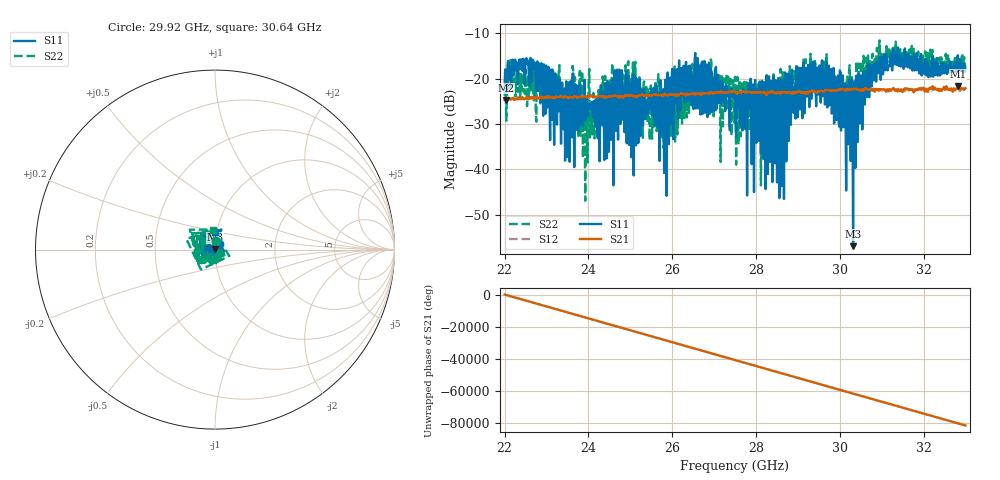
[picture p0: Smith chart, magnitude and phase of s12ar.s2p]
!Keysight Technologies,N5224B,MY57181201,A.12.70.07
!Date: Friday, July 15, 2022 16:15:20
!Correction: S11(Full 2 Port(1,2))
!S21(Full 2 Port(1,2))
!S12(Full 2 Port(1,2))
!S22(Full 2 Port(1,2))
!S2P File: Measurements: S11, S21, S12, S22:
# Hz S  dB  R 50
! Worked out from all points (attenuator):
!   801 points, 22 GHz to 33 GHz, reference 50 ohm
!   highest |S21| = -21.61 dB at 32.82 GHz (marker M1); lowest = -24.7 dB at 22.03 GHz (marker M2)
!   lowest |S11| = -56.9 dB at 30.32 GHz (marker M3), VSWR 1.00, Z = 50 + j0.14 ohm
!   |S11| at or under -10 dB: start of sweep to end of sweep
!   |S22| runs from -46.9 to -11.6 dB; largest |S21 - S12| = 0.0081
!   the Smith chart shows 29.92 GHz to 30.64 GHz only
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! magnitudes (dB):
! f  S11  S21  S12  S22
! 22 GHz  -21.6  -24.6  -24.6  -23.7
! 22.03 GHz  -18.5  -24.7  -24.6  -23.0
! 22.18 GHz  -16.6  -24.5  -24.5  -18.0
! 22.67 GHz  -15.8  -24.3  -24.5  -18.3
! 23.5 GHz  -37.3  -24.0  -23.9  -24.7
! 23.84 GHz  -25.7  -24.1  -24.2  -19.0
! 23.93 GHz  -29.2  -24.0  -23.9  -46.9
! 24.21 GHz  -32.6  -23.9  -23.9  -29.5
! 24.9 GHz  -18.4  -23.6  -23.7  -19.1
! 25.67 GHz  -24.5  -23.7  -23.7  -19.0
! 25.75 GHz  -32.4  -23.6  -23.5  -33.0
! 26 GHz  -17.9  -23.5  -23.4  -21.2
! 26.59 GHz  -16.7  -23.4  -23.5  -16.1
! 27.5 GHz  -23.1  -23.0  -23.0  -19.6
! 28.61 GHz  -43.7  -22.9  -23.0  -28.1
! 28.81 GHz  -19.1  -23.0  -23.0  -17.2
! 29.34 GHz  -19.2  -22.8  -23.1  -20.7
! 30.32 GHz  -56.9  -22.2  -22.4  -28.9
! 30.62 GHz  -18.4  -22.0  -22.4  -15.4
! 31.17 GHz  -17.0  -22.7  -22.4  -13.0
! 32.82 GHz  -14.8  -21.6  -22.0  -15.8
! 33 GHz  -18.3  -22.1  -22.2  -18.2
